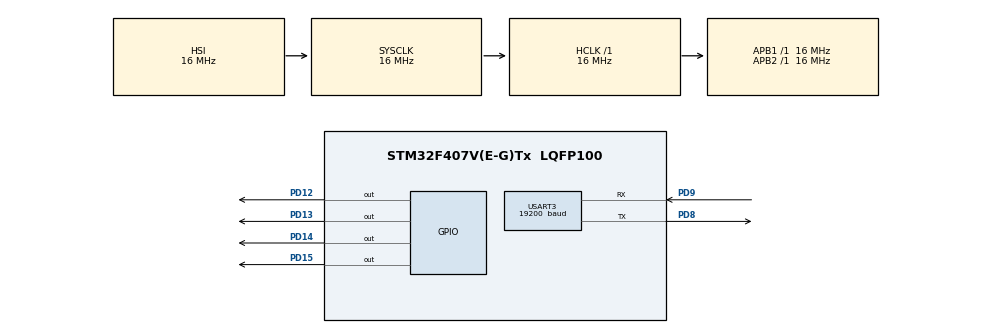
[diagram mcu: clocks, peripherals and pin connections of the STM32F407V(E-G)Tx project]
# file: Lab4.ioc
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Mcu.Family=STM32F4
Mcu.Name=STM32F407V(E-G)Tx
Mcu.Package=LQFP100
NVIC.PriorityGroup=NVIC_PRIORITYGROUP_4
PD12.Signal=GPIO_Output
PD13.Signal=GPIO_Output
PD14.Signal=GPIO_Output
PD15.Signal=GPIO_Output
PD8.Mode=Asynchronous
PD8.Signal=USART3_TX
PD9.Mode=Asynchronous
PD9.Signal=USART3_RX
ProjectManager.HeapSize=0x200
ProjectManager.StackSize=0x400
ProjectManager.TargetToolchain=STM32CubeIDE
RCC.AHBFreq_Value=16000000
RCC.APB1Freq_Value=16000000
RCC.APB2Freq_Value=16000000
RCC.CortexFreq_Value=16000000
RCC.HSE_VALUE=25000000
RCC.HSI_VALUE=16000000
RCC.LSE_VALUE=32768
RCC.SYSCLKFreq_VALUE=16000000
RCC.VCOOutputFreq_Value=192000000
USART3.BaudRate=19200 
USART3.VirtualMode=VM_ASYNC
board=custom

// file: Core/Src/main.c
/* USER CODE BEGIN Header */
/**
  ******************************************************************************
  * @file           : main.c
  * @brief          : Main program body
  ******************************************************************************
  * @attention
  *
  * Copyright (c) 2026 STMicroelectronics.
  * All rights reserved.
  *
  * This software is licensed under terms that can be found in the LICENSE file
  * in the root directory of this software component.
  * If no LICENSE file comes with this software, it is provided AS-IS.
  *
  ******************************************************************************
  */
/* USER CODE END Header */
#include "main.h"

UART_HandleTypeDef huart3;

void SystemClock_Config(void);
static void MX_GPIO_Init(void);
static void MX_USART3_UART_Init(void);

int main(void)
{

  /* MCU Configuration--------------------------------------------------------*/

  /* Reset of all peripherals, Initializes the Flash interface and the Systick. */
  HAL_Init();

  /* Configure the system clock */
  SystemClock_Config();

  /* Initialize all configured peripherals */
  MX_GPIO_Init();
  MX_USART3_UART_Init();

  /* Infinite loop */
  /* USER CODE BEGIN WHILE */
  while (1)
  {

	  uint8_t rcvBuf[1];
	  	  HAL_StatusTypeDef result;

	  	  // receive 1 byte
	  	  result = HAL_UART_Receive(&huart3, rcvBuf, 1, 100);

	  	  if (result == HAL_OK)
	  	  {
	  		  //define command based on the letter
	  		  switch (rcvBuf[0])
	  		  {
	  			  case 'g': // GREEN ON
	  				  HAL_GPIO_WritePin(GPIOD, GPIO_PIN_12, GPIO_PIN_SET);
	  				  HAL_UART_Transmit(&huart3, (uint8_t *)"GREEN ON\r\n", 10, 100);
	  				  break;

	  			  case 'G': // GREEN OFF
	  				  HAL_GPIO_WritePin(GPIOD, GPIO_PIN_12, GPIO_PIN_RESET);
	  				  HAL_UART_Transmit(&huart3, (uint8_t *)"GREEN OFF\r\n", 11, 100);
	  				  break;

	  			  case 'o': // ORANGE ON
	  				  HAL_GPIO_WritePin(GPIOD, GPIO_PIN_13, GPIO_PIN_SET);
	  				  HAL_UART_Transmit(&huart3, (uint8_t *)"ORANGE ON\r\n", 11, 100);
	  				  break;

	  			  case 'O': // ORANGE OFF
	  				  HAL_GPIO_WritePin(GPIOD, GPIO_PIN_13, GPIO_PIN_RESET);
	  				  HAL_UART_Transmit(&huart3, (uint8_t *)"ORANGE OFF\r\n", 12, 100);
	  				  break;

	  			  case 'r': // RED ON
	  				  HAL_GPIO_WritePin(GPIOD, GPIO_PIN_14, GPIO_PIN_SET);
	  				  HAL_UART_Transmit(&huart3, (uint8_t *)"RED ON\r\n", 8, 100);
	  				  break;

	  			  case 'R': // RED OFF
	  				  HAL_GPIO_WritePin(GPIOD, GPIO_PIN_14, GPIO_PIN_RESET);
	  				  HAL_UART_Transmit(&huart3, (uint8_t *)"RED OFF\r\n", 9, 100);
	  				  break;

	  			  case 'b': // BLUE ON
	  				  HAL_GPIO_WritePin(GPIOD, GPIO_PIN_15, GPIO_PIN_SET);
	  				  HAL_UART_Transmit(&huart3, (uint8_t *)"BLUE ON\r\n", 9, 100);
	  				  break;

	  			  case 'B': // BLUE OFF
	  				  HAL_GPIO_WritePin(GPIOD, GPIO_PIN_15, GPIO_PIN_RESET);
	  				  HAL_UART_Transmit(&huart3, (uint8_t *)"BLUE OFF\r\n", 10, 100);
	  				  break;

	  			  case 'a': // turn on all
	  				  HAL_GPIO_WritePin(GPIOD,
	  					  GPIO_PIN_12 | GPIO_PIN_13 | GPIO_PIN_14 | GPIO_PIN_15,
	  					  GPIO_PIN_SET);
	  				  HAL_UART_Transmit(&huart3, (uint8_t *)"ALL ON\r\n", 8, 100);
	  				  break;

	  			  case 'A': // turn off all
	  				  HAL_GPIO_WritePin(GPIOD,
	  					  GPIO_PIN_12 | GPIO_PIN_13 | GPIO_PIN_14 | GPIO_PIN_15,
	  					  GPIO_PIN_RESET);
	  				  HAL_UART_Transmit(&huart3, (uint8_t *)"ALL OFF\r\n", 9, 100);
	  				  break;

	  			  default: // Unknown cmd
	  				  HAL_UART_Transmit(&huart3, (uint8_t *)"Unknown cmd\r\n", 13, 100);
	  				  break;
	  		  }
	  	  }

    /* USER CODE END WHILE */

  }
}

void SystemClock_Config(void)
{
  RCC_OscInitTypeDef RCC_OscInitStruct = {0};
  RCC_ClkInitTypeDef RCC_ClkInitStruct = {0};

  /** Configure the main internal regulator output voltage
  */
  __HAL_RCC_PWR_CLK_ENABLE();
  __HAL_PWR_VOLTAGESCALING_CONFIG(PWR_REGULATOR_VOLTAGE_SCALE1);

  /** Initializes the RCC Oscillators according to the specified parameters
  * in the RCC_OscInitTypeDef structure.
  */
  RCC_OscInitStruct.OscillatorType = RCC_OSCILLATORTYPE_HSI;
  RCC_OscInitStruct.HSIState = RCC_HSI_ON;
  RCC_OscInitStruct.HSICalibrationValue = RCC_HSICALIBRATION_DEFAULT;
  RCC_OscInitStruct.PLL.PLLState = RCC_PLL_NONE;
  if (HAL_RCC_OscConfig(&RCC_OscInitStruct) != HAL_OK)
  {
    Error_Handler();
  }

  /** Initializes the CPU, AHB and APB buses clocks
  */
  RCC_ClkInitStruct.ClockType = RCC_CLOCKTYPE_HCLK|RCC_CLOCKTYPE_SYSCLK
                              |RCC_CLOCKTYPE_PCLK1|RCC_CLOCKTYPE_PCLK2;
  RCC_ClkInitStruct.SYSCLKSource = RCC_SYSCLKSOURCE_HSI;
  RCC_ClkInitStruct.AHBCLKDivider = RCC_SYSCLK_DIV1;
  RCC_ClkInitStruct.APB1CLKDivider = RCC_HCLK_DIV1;
  RCC_ClkInitStruct.APB2CLKDivider = RCC_HCLK_DIV1;

  if (HAL_RCC_ClockConfig(&RCC_ClkInitStruct, FLASH_LATENCY_0) != HAL_OK)
  {
    Error_Handler();
  }
}

static void MX_USART3_UART_Init(void)
{

  huart3.Instance = USART3;
  huart3.Init.BaudRate = 19200 ;
  huart3.Init.WordLength = UART_WORDLENGTH_8B;
  huart3.Init.StopBits = UART_STOPBITS_1;
  huart3.Init.Parity = UART_PARITY_NONE;
  huart3.Init.Mode = UART_MODE_TX_RX;
  huart3.Init.HwFlowCtl = UART_HWCONTROL_NONE;
  huart3.Init.OverSampling = UART_OVERSAMPLING_16;
  if (HAL_UART_Init(&huart3) != HAL_OK)
  {
    Error_Handler();
  }

}

static void MX_GPIO_Init(void)
{
  GPIO_InitTypeDef GPIO_InitStruct = {0};

  /* GPIO Ports Clock Enable */
  __HAL_RCC_GPIOD_CLK_ENABLE();

  /*Configure GPIO pin Output Level */
  HAL_GPIO_WritePin(GPIOD, GPIO_PIN_12|GPIO_PIN_13|GPIO_PIN_14|GPIO_PIN_15, GPIO_PIN_RESET);

  /*Configure GPIO pins : PD12 PD13 PD14 PD15 */
  GPIO_InitStruct.Pin = GPIO_PIN_12|GPIO_PIN_13|GPIO_PIN_14|GPIO_PIN_15;
  GPIO_InitStruct.Mode = GPIO_MODE_OUTPUT_PP;
  GPIO_InitStruct.Pull = GPIO_NOPULL;
  GPIO_InitStruct.Speed = GPIO_SPEED_FREQ_LOW;
  HAL_GPIO_Init(GPIOD, &GPIO_InitStruct);

}

void Error_Handler(void)
{
  __disable_irq();
  while (1)
  {
  }
}
